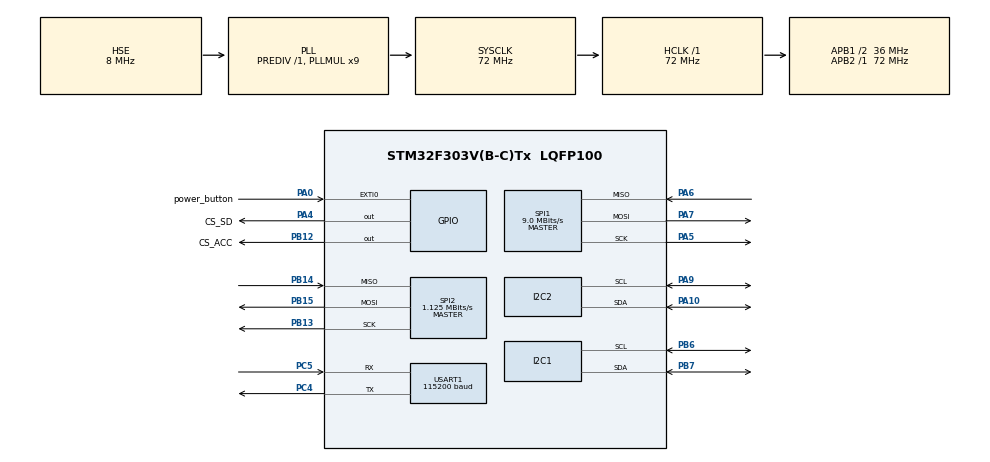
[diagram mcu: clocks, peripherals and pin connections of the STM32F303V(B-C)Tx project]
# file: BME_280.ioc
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FATFS._MAX_SS=4096
FATFS._USE_LFN=1
Mcu.Family=STM32F3
Mcu.Name=STM32F303V(B-C)Tx
Mcu.Package=LQFP100
NVIC.EXTI0_IRQn=true\:0\:0\:false\:false\:true\:true\:true\:true
NVIC.PriorityGroup=NVIC_PRIORITYGROUP_4
PA0.GPIO_Label=power_button
PA0.GPIO_ModeDefaultEXTI=GPIO_MODE_IT_FALLING
PA0.Signal=GPXTI0
PA10.Mode=I2C
PA10.Signal=I2C2_SDA
PA13.Mode=Serial_Wire
PA13.Signal=SYS_JTMS-SWDIO
PA14.Mode=Serial_Wire
PA14.Signal=SYS_JTCK-SWCLK
PA4.GPIO_Label=CS_SD
PA4.PinState=GPIO_PIN_RESET
PA4.Signal=GPIO_Output
PA5.Mode=Full_Duplex_Master
PA5.Signal=SPI1_SCK
PA6.Mode=Full_Duplex_Master
PA6.Signal=SPI1_MISO
PA7.Mode=Full_Duplex_Master
PA7.Signal=SPI1_MOSI
PA9.Mode=I2C
PA9.Signal=I2C2_SCL
PB12.GPIO_Label=CS_ACC
PB12.PinState=GPIO_PIN_SET
PB12.Signal=GPIO_Output
PB13.Mode=Full_Duplex_Master
PB13.Signal=SPI2_SCK
PB14.Mode=Full_Duplex_Master
PB14.Signal=SPI2_MISO
PB15.Mode=Full_Duplex_Master
PB15.Signal=SPI2_MOSI
PB6.Mode=I2C
PB6.Signal=I2C1_SCL
PB7.Mode=I2C
PB7.Signal=I2C1_SDA
PC4.Mode=Asynchronous
PC4.Signal=USART1_TX
PC5.Mode=Asynchronous
PC5.Signal=USART1_RX
PF0-OSC_IN.Mode=HSE-External-Oscillator
PF0-OSC_IN.Signal=RCC_OSC_IN
PF1-OSC_OUT.Mode=HSE-External-Oscillator
PF1-OSC_OUT.Signal=RCC_OSC_OUT
ProjectManager.HeapSize=0x200
ProjectManager.StackSize=0x400
ProjectManager.TargetToolchain=STM32CubeIDE
RCC.AHBFreq_Value=72000000
RCC.APB1CLKDivider=RCC_HCLK_DIV2
RCC.APB1Freq_Value=36000000
RCC.APB1TimFreq_Value=72000000
RCC.APB2Freq_Value=72000000
RCC.APB2TimFreq_Value=72000000
RCC.CortexFreq_Value=72000000
RCC.HCLKFreq_Value=72000000
RCC.HSE_VALUE=8000000
RCC.HSI_VALUE=8000000
RCC.LSE_VALUE=32768
RCC.PLLMUL=RCC_PLL_MUL9
RCC.PLLSourceVirtual=RCC_PLLSOURCE_HSE
RCC.SYSCLKFreq_VALUE=72000000
RCC.SYSCLKSourceVirtual=RCC_SYSCLKSOURCE_PLLCLK
RCC.USBFreq_Value=72000000
SPI1.BaudRatePrescaler=SPI_BAUDRATEPRESCALER_8
SPI1.CalculateBaudRate=9.0 MBits/s
SPI1.DataSize=SPI_DATASIZE_8BIT
SPI1.Direction=SPI_DIRECTION_2LINES
SPI1.Mode=SPI_MODE_MASTER
SPI1.VirtualType=VM_MASTER
SPI2.BaudRatePrescaler=SPI_BAUDRATEPRESCALER_32
SPI2.CLKPhase=SPI_PHASE_2EDGE
SPI2.CLKPolarity=SPI_POLARITY_HIGH
SPI2.CalculateBaudRate=1.125 MBits/s
SPI2.DataSize=SPI_DATASIZE_8BIT
SPI2.Direction=SPI_DIRECTION_2LINES
SPI2.Mode=SPI_MODE_MASTER
SPI2.VirtualType=VM_MASTER
USART1.BaudRate=115200
USART1.VirtualMode-Asynchronous=VM_ASYNC
VP_FATFS_VS_Generic.Mode=User_defined
VP_RTC_VS_RTC_Activate.Mode=RTC_Enabled
board=custom

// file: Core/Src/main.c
/* USER CODE BEGIN Header */
/**
  ******************************************************************************
  * @file           : main.c
  * @brief          : Main program body
  ******************************************************************************
  * @attention
  *
  * Copyright (c) 2023 STMicroelectronics.
  * All rights reserved.
  *
  * This software is licensed under terms that can be found in the LICENSE file
  * in the root directory of this software component.
  * If no LICENSE file comes with this software, it is provided AS-IS.
  *
  ******************************************************************************
  */
/* USER CODE END Header */
#include "main.h"
#include "fatfs.h"
#include "i2c.h"
#include "rtc.h"
#include "spi.h"
#include "usart.h"
#include "gpio.h"

/* USER CODE BEGIN Includes */
#include "bme280_defs.h"
#include "bme280.h"
#include <stdio.h>
#include "lcd_i2c.h"
#include <stdbool.h>
#include "microSD.h"
#include "fatfs_sd.h"
#include "string.h"
#include "ff.h"
#include "akcelerometr.h"
#include "math.h"

/* USER CODE END Includes */

/* USER CODE BEGIN PV */
struct lcd_disp disp;
char buffer[100];
bool power;
extern struct bme280_data data;
volatile uint16_t push_counter;
RTC_TimeTypeDef time;
RTC_DateTypeDef date;
uint8_t rx_data[6];
struct axis axis;
struct axis_g axis_g;
float a_axis, a_total;
int timer;

/* USER CODE END PV */

void SystemClock_Config(void);
/* USER CODE BEGIN PFP */

void power_on(void)
{
	HAL_RTC_GetTime(&hrtc, &time, RTC_FORMAT_BIN);
	HAL_RTC_GetDate(&hrtc, &date, RTC_FORMAT_BIN);

	timer = time.Seconds % 5;

	if(timer == 1)
	{
		BME280_read_print_data();

		sprintf((char *)disp.line_1, "Temperatura: %0.2f C",data.temperature);
		sprintf((char *)disp.line_2, "Cisnienie: %0.1f hPa",data.pressure*0.01);
		sprintf((char *)disp.line_3, "Wilgotnosc: %0.2f %%",data.humidity);
		lcd_display(&disp);

		sprintf(buffer, "%02d:%02d:%02d, Temperatura: %0.2f C, Cisnienie: %0.2f hPa, Wilgotnosc: %0.2f %% \r\n",
				time.Hours, time.Minutes, time.Seconds, data.temperature, data.pressure*0.01, data.humidity);
		write_data_SD(buffer);
		HAL_Delay(1000);
	}

	acc_data();

}

void acc_data(void)
{
	acc_read(0x32);
	axis.X_axis = ((rx_data[1]<<8) | rx_data[0]);
	axis.Y_axis = ((rx_data[3]<<8) | rx_data[2]);
	axis.Z_axis = ((rx_data[5]<<8) | rx_data[4]);

	axis_g.X_g = axis.X_axis*.0078;
	axis_g.Y_g = axis.Y_axis*.0078;
	axis_g.Z_g = axis.Z_axis*.0078;
	a_axis = powf(axis_g.X_g,2) + powf(axis_g.Y_g,2) + powf(axis_g.Z_g,2);
	a_total = powf(a_axis, 0.5) - 1;

	if(a_total > 1)
	{
	sprintf(buffer, "%02d:%02d:%02d, Nastapilo uderzenie z przyspieszeniem: %0.2fg \r\n",
			time.Hours, time.Minutes, time.Seconds, a_total);
	write_data_SD(buffer);
	}
	HAL_Delay(100);
}

void power_off(void)
{
	  lcd_clear(&disp);
	  RTC_TimeTypeDef new_time = {0};
	  HAL_RTC_SetTime(&hrtc, &new_time, RTC_FORMAT_BIN);
}

void acc_write(uint8_t addr, uint8_t value)
{
	uint8_t data[2];
	data[0] = addr | 0x40;
	data[1] = value;
	HAL_GPIO_WritePin(CS_ACC_GPIO_Port, CS_ACC_Pin, GPIO_PIN_RESET);
	HAL_SPI_Transmit(&hspi2, data, 2, 100);
	HAL_GPIO_WritePin(CS_ACC_GPIO_Port, CS_ACC_Pin, GPIO_PIN_SET);
}

void acc_read(uint8_t addr)
{
	addr |= 0x80;
	addr |= 0x40;
	HAL_GPIO_WritePin(CS_ACC_GPIO_Port, CS_ACC_Pin, GPIO_PIN_RESET);
	HAL_SPI_Transmit(&hspi2, &addr, 1, 100);
	HAL_SPI_Receive(&hspi2, rx_data, 6, 100);
	HAL_GPIO_WritePin(CS_ACC_GPIO_Port, CS_ACC_Pin, GPIO_PIN_SET);
}

void acc_init(void)
{
	acc_write(0x31, 0x01);
	acc_write(0x2d, 0x00);
	acc_write(0x2d, 0x08);
}

/* USER CODE END PFP */

int main(void)
{

  /* MCU Configuration--------------------------------------------------------*/

  /* Reset of all peripherals, Initializes the Flash interface and the Systick. */
  HAL_Init();

  /* Configure the system clock */
  SystemClock_Config();

  /* Initialize all configured peripherals */
  MX_GPIO_Init();
  MX_I2C1_Init();
  MX_USART1_UART_Init();
  MX_I2C2_Init();
  MX_FATFS_Init();
  MX_SPI1_Init();
  MX_RTC_Init();
  MX_SPI2_Init();
  /* USER CODE BEGIN 2 */
  BME_280_init();
  acc_init();

  disp.addr = (0x27 << 1);
  disp.bl = true;
  lcd_init(&disp);

  HAL_Delay(500);
  SD_disk_initialize(0);
  HAL_Delay(500);

  plik_SD_init();
  HAL_Delay(200);

  /* USER CODE END 2 */

  /* Infinite loop */
  while (1)
  {

    /* USER CODE BEGIN 3 */

	  switch(push_counter)
	  {
	  case 0:
		  power_off();
		  break;
	  case 1:
		  power_on();
		  break;
	  default:
		  break;
	  }

  }
  /* USER CODE END 3 */
}

void SystemClock_Config(void)
{
  RCC_OscInitTypeDef RCC_OscInitStruct = {0};
  RCC_ClkInitTypeDef RCC_ClkInitStruct = {0};
  RCC_PeriphCLKInitTypeDef PeriphClkInit = {0};

  /** Initializes the RCC Oscillators according to the specified parameters
  * in the RCC_OscInitTypeDef structure.
  */
  RCC_OscInitStruct.OscillatorType = RCC_OSCILLATORTYPE_HSI|RCC_OSCILLATORTYPE_LSI
                              |RCC_OSCILLATORTYPE_HSE;
  RCC_OscInitStruct.HSEState = RCC_HSE_ON;
  RCC_OscInitStruct.HSEPredivValue = RCC_HSE_PREDIV_DIV1;
  RCC_OscInitStruct.HSIState = RCC_HSI_ON;
  RCC_OscInitStruct.HSICalibrationValue = RCC_HSICALIBRATION_DEFAULT;
  RCC_OscInitStruct.LSIState = RCC_LSI_ON;
  RCC_OscInitStruct.PLL.PLLState = RCC_PLL_ON;
  RCC_OscInitStruct.PLL.PLLSource = RCC_PLLSOURCE_HSE;
  RCC_OscInitStruct.PLL.PLLMUL = RCC_PLL_MUL9;
  if (HAL_RCC_OscConfig(&RCC_OscInitStruct) != HAL_OK)
  {
    Error_Handler();
  }

  /** Initializes the CPU, AHB and APB buses clocks
  */
  RCC_ClkInitStruct.ClockType = RCC_CLOCKTYPE_HCLK|RCC_CLOCKTYPE_SYSCLK
                              |RCC_CLOCKTYPE_PCLK1|RCC_CLOCKTYPE_PCLK2;
  RCC_ClkInitStruct.SYSCLKSource = RCC_SYSCLKSOURCE_PLLCLK;
  RCC_ClkInitStruct.AHBCLKDivider = RCC_SYSCLK_DIV1;
  RCC_ClkInitStruct.APB1CLKDivider = RCC_HCLK_DIV2;
  RCC_ClkInitStruct.APB2CLKDivider = RCC_HCLK_DIV1;

  if (HAL_RCC_ClockConfig(&RCC_ClkInitStruct, FLASH_LATENCY_2) != HAL_OK)
  {
    Error_Handler();
  }
  PeriphClkInit.PeriphClockSelection = RCC_PERIPHCLK_USART1|RCC_PERIPHCLK_I2C1
                              |RCC_PERIPHCLK_I2C2|RCC_PERIPHCLK_RTC;
  PeriphClkInit.Usart1ClockSelection = RCC_USART1CLKSOURCE_PCLK2;
  PeriphClkInit.I2c1ClockSelection = RCC_I2C1CLKSOURCE_HSI;
  PeriphClkInit.I2c2ClockSelection = RCC_I2C2CLKSOURCE_HSI;
  PeriphClkInit.RTCClockSelection = RCC_RTCCLKSOURCE_LSI;
  if (HAL_RCCEx_PeriphCLKConfig(&PeriphClkInit) != HAL_OK)
  {
    Error_Handler();
  }
}

/* USER CODE BEGIN 4 */
void HAL_GPIO_EXTI_Callback(uint16_t GPIO_Pin)
{
	if(GPIO_Pin == power_button_Pin)
	{
		push_counter ++;
		if(push_counter >= 2)
		{
			push_counter = 0;
		}
	}
}
/* USER CODE END 4 */

void Error_Handler(void)
{
  __disable_irq();
  while (1)
  {
  }
}
